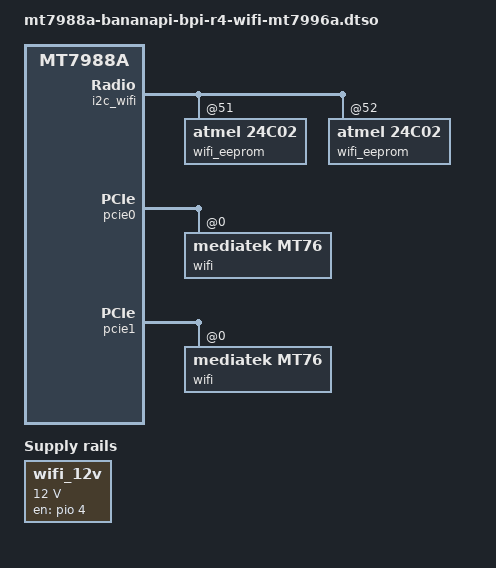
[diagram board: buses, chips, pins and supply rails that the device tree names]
// SPDX-License-Identifier: (GPL-2.0 OR MIT)
/dts-v1/;
/plugin/;

#include <dt-bindings/gpio/gpio.h>

/ {
	compatible = "bananapi,bpi-r4", "mediatek,mt7988a";

	fragment@0 {
		target-path = "/";
		__overlay__ {
			wifi_12v: regulator-wifi-12v {
				compatible = "regulator-fixed";
				regulator-name = "wifi";
				regulator-min-microvolt = <12000000>;
				regulator-max-microvolt = <12000000>;
				gpios = <&pio 4 GPIO_ACTIVE_HIGH>;
				enable-active-high;
				regulator-always-on;
			};
		};
	};

	fragment@1 {
		target = <&i2c_wifi>;
		__overlay__ {
			// 5G WIFI MAC Address EEPROM
			wifi_eeprom@51 {
				compatible = "atmel,24c02";
				reg = <0x51>;
				address-bits = <8>;
				page-size = <8>;
				size = <256>;

				nvmem-layout {
					compatible = "fixed-layout";
					#address-cells = <1>;
					#size-cells = <1>;

					macaddr_5g: macaddr@0 {
						reg = <0x0 0x6>;
					};
				};
			};

			// 6G WIFI MAC Address EEPROM
			wifi_eeprom@52 {
				compatible = "atmel,24c02";
				reg = <0x52>;
				address-bits = <8>;
				page-size = <8>;
				size = <256>;

				nvmem-layout {
					compatible = "fixed-layout";
					#address-cells = <1>;
					#size-cells = <1>;

					macaddr_6g: macaddr@0 {
						reg = <0x0 0x6>;
					};
				};
			};
		};
	};

	fragment@2 {
		target = <&pcie0>;
		__overlay__ {
			pcie@0,0 {
				reg = <0x0000 0 0 0 0>;

				wifi@0,0 {
					compatible = "mediatek,mt76";
					reg = <0x0000 0 0 0 0>;
					nvmem-cell-names = "mac-address";
					nvmem-cells = <&macaddr_5g>;
				};
			};
		};
	};

	fragment@3 {
		target = <&pcie1>;
		__overlay__ {
			pcie@0,0 {
				reg = <0x0000 0 0 0 0>;

				wifi@0,0 {
					compatible = "mediatek,mt76";
					reg = <0x0000 0 0 0 0>;
					nvmem-cell-names = "mac-address";
					nvmem-cells = <&macaddr_6g>;
				};
			};
		};
	};
};
